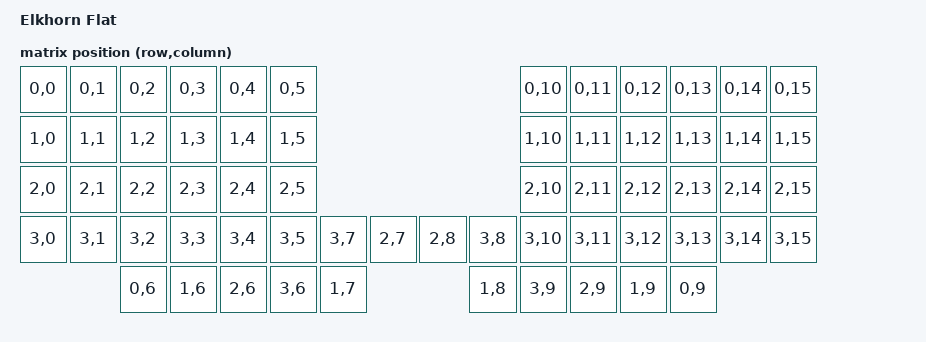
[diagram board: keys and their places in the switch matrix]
/*
*
* Copyright (c) 2024 Ireh Choi
* SPDX-License-Identifier: MIT
*
*/

/dts-v1/;
#include <nordic/nrf52833_qiaa.dtsi>

#include <dt-bindings/zmk/matrix_transform.h>

/ {
    model = "Elkhorn Flat";
    compatible = "elkhorn_flat";

    chosen {
        zephyr,code-partition = &code_partition;
        zephyr,sram = &sram0;
        zephyr,flash = &flash0;
        zmk,kscan = &kscan0;
        zmk,matrix_transform = &default_transform;
    };

    leds {
        compatible = "gpio-leds";
        blue_led: led_0 {
            gpios = <&gpio0 9 GPIO_ACTIVE_HIGH>;
            label = "Blue LED";
        };
    };

    vbatt: vbatt {
        compatible = "zmk,battery-voltage-divider";
        label = "BATTERY";
        io-channels = <&adc 3>;
        output-ohms = <2000000>;
        full-ohms = <(2000000 + 750000)>;
    };

    default_transform: keymap_transform_0 {
        compatible = "zmk,matrix-transform";
        columns = <16>;
        rows = <4>;

// visual layouts
// | SW1  | SW2  | SW3  | SW4  | SW5  | SW6  |                               | SW6  | SW5  | SW4  | SW3  | SW2  | SW1  |
// | SW7  | SW8  | SW9  | SW10 | SW11 | SW12 |                               | SW12 | SW11 | SW10 | SW9  | SW8  | SW7  |
// | SW13 | SW14 | SW15 | SW16 | SW17 | SW18 |                               | SW18 | SW17 | SW16 | SW15 | SW14 | SW13 |
// | SW19 | SW20 | SW21 | SW22 | SW23 | SW24 | SW31 | SW29 |   | SW29 | SW31 | SW24 | SW23 | SW22 | SW21 | SW20 | SW19 |
//                | SW25 | SW26 | SW28 | SW30 | SW27 |               | SW27 | SW30 | SW28 | SW26 | SW25 |

// Matrix 
// | SW1  | SW2  | SW3  | SW4  | SW5  | SW6  | SW25 |                 | SW25 | SW6  | SW5  | SW4  | SW3  | SW2  | SW1  |
// | SW7  | SW8  | SW9  | SW10 | SW11 | SW12 | SW26 | SW27 |   | SW27 | SW26 | SW12 | SW11 | SW10 | SW9  | SW8  | SW7  |
// | SW13 | SW14 | SW15 | SW16 | SW17 | SW18 | SW28 | SW29 |   | SW29 | SW28 | SW18 | SW17 | SW16 | SW15 | SW14 | SW13 |
// | SW19 | SW20 | SW21 | SW22 | SW23 | SW24 | SW30 | SW31 |   | SW31 | SW30 | SW24 | SW23 | SW22 | SW21 | SW20 | SW19 |

        map = <
RC(0,0) RC(0,1) RC(0,2) RC(0,3) RC(0,4) RC(0,5)                                   RC(0,10) RC(0,11) RC(0,12) RC(0,13) RC(0,14) RC(0,15)
RC(1,0) RC(1,1) RC(1,2) RC(1,3) RC(1,4) RC(1,5)                                   RC(1,10) RC(1,11) RC(1,12) RC(1,13) RC(1,14) RC(1,15)
RC(2,0) RC(2,1) RC(2,2) RC(2,3) RC(2,4) RC(2,5)                                   RC(2,10) RC(2,11) RC(2,12) RC(2,13) RC(2,14) RC(2,15)
RC(3,0) RC(3,1) RC(3,2) RC(3,3) RC(3,4) RC(3,5) RC(3,7) RC(2,7)   RC(2,8) RC(3,8) RC(3,10) RC(3,11) RC(3,12) RC(3,13) RC(3,14) RC(3,15)
                  RC(0,6) RC(1,6) RC(2,6) RC(3,6) RC(1,7)               RC(1,8) RC(3,9) RC(2,9) RC(1,9) RC(0,9)
        >;

};


&adc {
    status = "okay";
};

&gpiote {
    status = "okay";
};

&gpio0 {
    status = "okay";
};

&gpio1 {
    status = "okay";
};

&usbd {
    status = "okay";
};


&flash0 {
    /*
     * For more information, see:
     * http://docs.zephyrproject.org/latest/devices/dts/flash_partitions.html
     */
    partitions {
        compatible = "fixed-partitions";
        #address-cells = <1>;
        #size-cells = <1>;

        sd_partition: partition@0 {
            label = "softdevice";
            reg = <0x00000000 0x00026000>;
        };
        code_partition: partition@26000 {
            label = "code_partition";
            reg = <0x00026000 0x00046000>;
        };

        /*
         * The flash starting at 0x0006c000 and ending at
         * 0x00073fff is reserved for use by the application.
         */

        /*
         * Storage partition will be used by FCB/LittleFS/NVS
         * if enabled.
         */
        storage_partition: partition@6c000 {
            label = "storage";
            reg = <0x0006c000 0x00008000>;
        };

        boot_partition: partition@74000 {
            label = "adafruit_boot";
            reg = <0x00074000 0x0000c000>;
        };
    };
};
